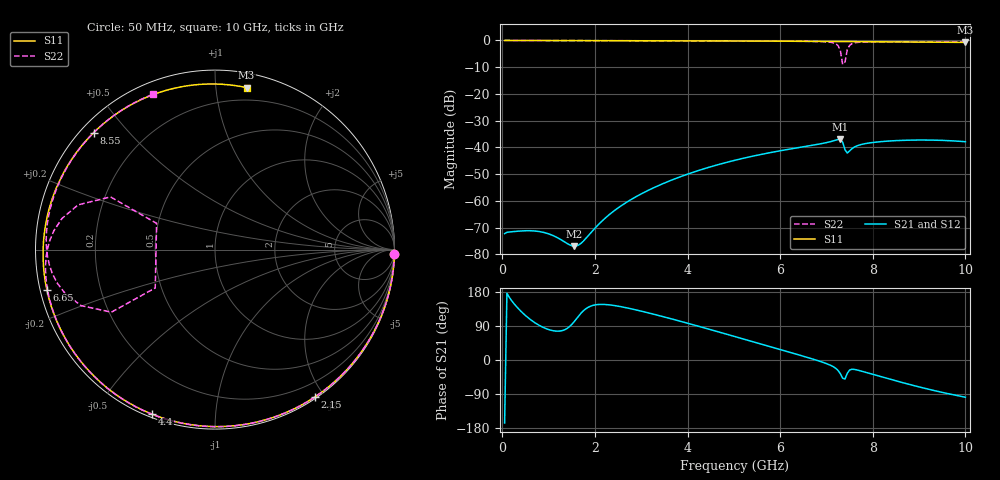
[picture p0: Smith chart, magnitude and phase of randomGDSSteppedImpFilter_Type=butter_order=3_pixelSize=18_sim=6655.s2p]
! freq	dB(S11)	phase(S11)	dB(S12)	phase(S12)
!  dB(S21)	phase(S21)	dB(S22)	phase(S22)
!S-par simulation data
#  GHz  S  DB  R 50
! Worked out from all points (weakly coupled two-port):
!   200 points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, 50 MHz to 10 GHz, reference 50 ohm
!   highest |S21| = -37.01 dB at 7.3 GHz (marker M1); lowest = -76.9 dB at 1.55 GHz (marker M2)
!   lowest |S11| = -0.7 dB at 10 GHz (marker M3), VSWR 23.85, Z = 5.17 + j60.4 ohm
!   |S11| at or under -10 dB: nowhere
!   |S22| runs from -9.0 to 0.0 dB; largest |S21 - S12| = 0
!   S11 on the Smith chart (normalised r, x): 50 MHz: 0, -86; 2.15 GHz: 0.02, -1.88; 4.4 GHz: 0.01, -0.69; 6.65 GHz: 0.02, -0.12; 8.55 GHz: 0.04, +0.40; 10 GHz: 0.10, +1.21
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0.05  -0.00 -1.3  -72.23 -166.3  -72.23 -166.3  -0.00 -1.4
0.8  -0.02 -21.2  -71.46 91.2  -71.46 91.2  -0.02 -21.5
1.55  -0.05 -40.7  -76.93 100.9  -76.93 100.9  -0.05 -41.2
1.75  -0.06 -45.8  -75.05 129.8  -75.05 129.8  -0.06 -46.3
2.15  -0.07 -56.0  -67.58 146.8  -67.58 146.8  -0.07 -56.5
3.4  -0.12 -86.8  -54.06 116.7  -54.06 116.7  -0.11 -87.2
4.4  -0.16 -110.9  -47.75 83.5  -47.75 83.5  -0.16 -110.6
5.05  -0.20 -126.4  -44.69 60.9  -44.69 60.9  -0.19 -125.6
6.65  -0.32 -166.5  -39.33 4.5  -39.33 4.5  -0.35 -165.1
6.7  -0.33 -167.8  -39.18 2.7  -39.18 2.7  -0.36 -166.6
7.15  -0.38 179.9  -37.55 -17.8  -37.55 -17.8  -0.88 173.3
7.25  -0.39 177.0  -37.03 -27.5  -37.03 -27.5  -1.91 161.9
7.3  -0.39 175.6  -37.01 -36.2  -37.01 -36.2  -3.71 153.2
7.35  -0.40 174.1  -38.04 -48.0  -38.04 -48.0  -8.96 155.8
7.4  -0.40 172.7  -40.88 -50.1  -40.88 -50.1  -8.05 -147.3
7.45  -0.41 171.2  -42.10 -35.1  -42.10 -35.1  -3.42 -148.9
7.55  -0.42 168.3  -40.49 -24.4  -40.49 -24.4  -1.22 -163.6
7.65  -0.43 165.3  -39.48 -26.0  -39.48 -26.0  -0.76 -171.8
8.35  -0.52 143.0  -37.60 -50.0  -37.60 -50.0  -0.49 161.9
8.55  -0.55 136.1  -37.42 -56.7  -37.42 -56.7  -0.50 156.0
9.35  -0.65 106.1  -37.29 -81.3  -37.29 -81.3  -0.56 132.3
10  -0.73 79.0  -37.86 -98.3  -37.86 -98.3  -0.62 111.8
